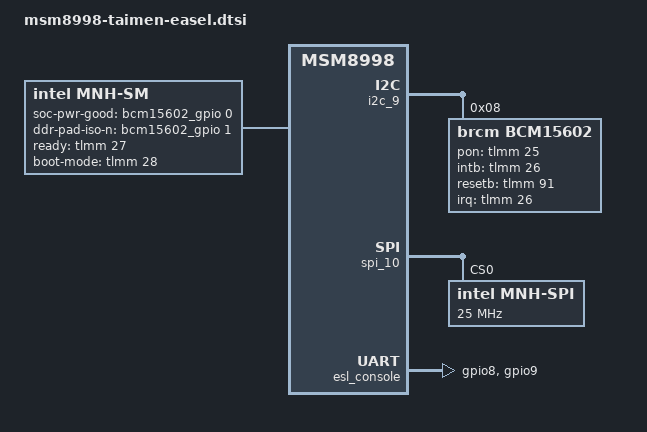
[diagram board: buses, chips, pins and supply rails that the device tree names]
/* Copyright (c) 2016, The Linux Foundation. All rights reserved.
 *
 * This program is free software; you can redistribute it and/or modify
 * it under the terms of the GNU General Public License version 2 and
 * only version 2 as published by the Free Software Foundation.
 *
 * This program is distributed in the hope that it will be useful,
 * but WITHOUT ANY WARRANTY; without even the implied warranty of
 * MERCHANTABILITY or FITNESS FOR A PARTICULAR PURPOSE.  See the
 * GNU General Public License for more details.
 */

#include <dt-bindings/interrupt-controller/irq.h>

&aliases {
	serial1 = "/soc/serial@0c16f000";
};

&pcie0 {
	/* move and resize conf, io, and bars (mem) allocations */
	reg = <0x1c00000 0x2000>,
	      <0x1c06000 0x1000>,
	      <0x1b000000 0xf1d>,
	      <0x1b000f20 0xa8>,
	      <0x1b010000 0x20000>,  /* 128KB conf space */
	      <0x1b030000 0x20000>,  /* 128KB io space */
	      <0x1b100000 0xf00000>; /* 15M bars space */
	ranges = <0x01000000 0x0 0x1b030000 0x1b030000 0x0 0x20000>, /* io */
		 <0x02000000 0x0 0x1b100000 0x1b100000 0x0 0xf00000>; /* bars */

	/* QCOM's GICM implementation is not compatible with Easel */
	qcom,msi-gicm-addr = <>;
	qcom,msi-gicm-base = <>;

	/* reduce endpoint reset latency */
	qcom,ep-latency = <1>;

	/* WAKE# optional sideband signal not connected */
	wake-gpio = <>;
	/* Remove pcie0_wake_default from pin muxing */
	pinctrl-0 = <&pcie0_clkreq_default &pcie0_perst_default>;
};

&tlmm {
	bcm15602_pins {
		bcm15602_pon_default: bcm15602_pon_default {
			mux {
				pins = "gpio25";
				function = "gpio";
			};

			config {
				pins = "gpio25";
				drive-strength = <2>;
				bias-disable;
			};
		};

		bcm15602_intb_default: bcm15602_intb_default {
			mux {
				pins = "gpio26";
				function = "gpio";
			};

			config {
				pins = "gpio26";
				drive-strength = <2>;
				bias-pull-up;
			};
		};

		bcm15602_resetb_default: bcm15602_resetb_default {
			mux {
				pins = "gpio91";
				function = "gpio";
			};

			config {
				pins = "gpio91";
				drive-strength = <2>;
				bias-pull-down;
			};
		};
	};

	easel_pins {
		easel_ready_default: easel_ready_default {
			mux {
				pins = "gpio27";
				function = "gpio";
			};

			config {
				pins = "gpio27";
				drive-strength = <2>;
				bias-pull-down;
			};
		};

		easel_boot_mode_default: easel_boot_mode_default {
			mux {
				pins = "gpio28";
				function = "gpio";
			};

			config {
				pins = "gpio28";
				drive-strength = <2>;
				bias-disable;
			};
		};

		esl_console_active: esl_console_active {
			mux {
				pins = "gpio8", "gpio9";
				function = "blsp_uart1_b";
			};

			config {
				pins = "gpio8", "gpio9";
				drive-strength = <2>;
				bias-disable;
			};
		};

		esl_console_sleep: esl_console_sleep {
			mux {
				pins = "gpio8", "gpio9";
				function = "gpio";
			};

			config {
				pins = "gpio8", "gpio9";
				drive-strength = <2>;
				bias-pull-down;
			};
		};
	};
};

&i2c_9 {
	status = "okay";
	bcm15602@8 {
		compatible = "brcm,bcm15602";
		reg = <0x8>;

		interrupt-parent = <&tlmm>;
		interrupts = <26 IRQ_TYPE_EDGE_FALLING>;
		interrupt-names = "bcm15602_intb";

		pinctrl-names = "default";
		pinctrl-0 = <&bcm15602_pon_default &bcm15602_intb_default
			&bcm15602_resetb_default>;

		bcm,pon-gpio = <&tlmm 25 0x00>;
		bcm,intb-gpio = <&tlmm 26 0x00>;
		bcm,resetb-gpio = <&tlmm 91 0x00>;

		bcm15602_gpio: gpio {
			compatible = "brcm,bcm15602-gpio";
			gpio-controller;
			#gpio-cells = <2>;
		};

		bcm15602_thermal: sensor {
			compatible = "brcm,bcm15602-thermal";
			#thermal-sensor-cells = <0>;
		};
	};
};

&spi_10 {
	status = "okay";
	mnh-spi@0 {
		compatible = "intel,mnh-spi";
		reg = <0>;
		spi-max-frequency = <25000000>;
		spi-cpol;
		spi-cpha;
	};
};

&soc {
	esl_console: serial@0c16f000 {
		compatible = "qcom,msm-uartdm-v1.4", "qcom,msm-uartdm";
		reg = <0xc16f000 0x1000>;

		interrupts = <0 107 0>;

		clocks = <&clock_gcc clk_gcc_blsp1_uart1_apps_clk>,
			 <&clock_gcc clk_gcc_blsp1_ahb_clk>;
		clock-names = "core", "iface";

		pinctrl-names = "default", "sleep";
		pinctrl-0 = <&esl_console_active>;
		pinctrl-1 = <&esl_console_sleep>;
	};

	mnh-sm {
		compatible = "intel,mnh-sm";

		clocks = <&clock_gcc clk_ln_bb_clk2>,
			 <&clock_gcc clk_div_clk3>;
		clock-names = "ref_clk", "sleep_clk";

		pinctrl-names = "default";
		pinctrl-0 = <&easel_ready_default &easel_boot_mode_default>;

		soc-pwr-good-gpio = <&bcm15602_gpio 0 0x00>;
		ddr-pad-iso-n-gpio = <&bcm15602_gpio 1 0x00>;
		ready-gpio = <&tlmm 27 0x00>;
		boot-mode-gpio = <&tlmm 28 0x00>;
	};

	mnh_thermal: mnh_thermal {
		compatible = "intel,mnh_thermal";
		#thermal-sensor-cells = <1>;
	};

	thermal-zones {
		mnh_ipu1 {
			polling-delay-passive = <1000>;/* milliseconds */
			polling-delay = <0>;/* milliseconds */
			thermal-sensors = <&mnh_thermal 0>;
		};

		mnh_ipu2 {
			polling-delay-passive = <1000>;/* milliseconds */
			polling-delay = <0>;/* milliseconds */
			thermal-sensors = <&mnh_thermal 1>;
		};

		mnh_cpu {
			polling-delay-passive = <1000>;/* milliseconds */
			polling-delay = <0>;/* milliseconds */
			thermal-sensors = <&mnh_thermal 2>;
		};

		mnh_lpddr {
			polling-delay-passive = <1000>;/* milliseconds */
			polling-delay = <0>;/* milliseconds */
			thermal-sensors = <&mnh_thermal 3>;
		};
	};
};
